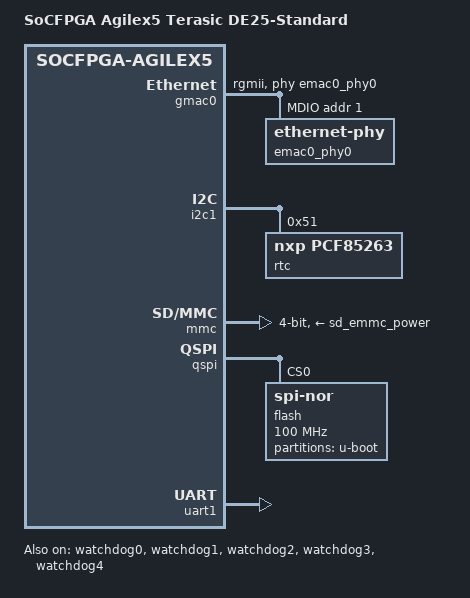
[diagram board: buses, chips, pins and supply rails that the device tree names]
// SPDX-License-Identifier: GPL-2.0-only
/*
 * Terasic DE25-Standard (Agilex 5 A5ED013BB32AE4SCS), for this repo's
 * de25_soc HPS pin mux: EMAC0, SD/MMC, UART1, I2C1, QSPI. No USB0, SPIM0,
 * HPS_LED or HPS_KEY in the pin mux.
 *
 * Derived from upstream socfpga_agilex5_de25_nano.dts (linux-socfpga
 * socfpga-6.18.20-lts) and Terasic's socfpga_agilex5_de25s.dts
 * (terasic/linux-socfpga de25-standard-6.12.11-lts). Copied into the
 * kernel tree by linux/build_de25_linux.sh.
 */
#include "socfpga_agilex5.dtsi"

/ {
	model = "SoCFPGA Agilex5 Terasic DE25-Standard";
	compatible = "intel,socfpga-agilex5-socdk", "intel,socfpga-agilex5";

	aliases {
		serial0 = &uart1;
		ethernet0 = &gmac0;
		i2c1 = &i2c1;
	};

	chosen {
		stdout-path = "serial0:115200n8";
	};

	memory@80000000 {
		device_type = "memory";
		/* We expect the bootloader to fill in the reg */
		reg = <0x0 0x80000000 0x0 0x0>;
	};
};

/* KSZ9031RN at MDIO address 1. Terasic uses "rgmii" (delays on the PCB),
 * as upstream's DE25-Nano DT does; "rgmii-id" is the fallback to try
 * (plan §7). */
&gmac0 {
	status = "okay";
	phy-mode = "rgmii";
	phy-handle = <&emac0_phy0>;

	max-frame-size = <9000>;

	mdio0 {
		#address-cells = <1>;
		#size-cells = <0>;
		compatible = "snps,dwmac-mdio";
		emac0_phy0: ethernet-phy@0 {
			reg = <1>;
		};
	};
};

&gpio1 {
	status = "okay";
};

/* PCF85263A RTC (CR1220 cell holder); ADXL345 at 0x53 not described */
&i2c1 {
	status = "okay";

	rtc@51 {
		compatible = "nxp,pcf85263";
		reg = <0x51>;
	};
};

/* 3.3 V-only card slot: vqmmc is the fixed card supply */
&mmc {
	status = "okay";

	no-1-8-v;
	disable-wp;
	cap-sd-highspeed;
	bus-width = <4>;
	vmmc-supply = <&sd_emmc_power>;
	vqmmc-supply = <&sd_emmc_power>;
	max-frequency = <200000000>;
	sdhci-caps = <0x00000000 0x0000c800>;
	sdhci-caps-mask = <0x00002007 0x0000ff00>;
};

&sd_io_1v8_reg {
	status = "disabled";
};

&osc1 {
	clock-frequency = <25000000>;
};

&qspi {
	status = "okay";
	flash@0 {
		compatible = "jedec,spi-nor";
		reg = <0>;
		spi-max-frequency = <100000000>;
		m25p,fast-read;
		cdns,read-delay = <2>;
		cdns,tshsl-ns = <50>;
		cdns,tsd2d-ns = <50>;
		cdns,tchsh-ns = <4>;
		cdns,tslch-ns = <4>;

		partitions {
			compatible = "fixed-partitions";
			#address-cells = <1>;
			#size-cells = <1>;
			rsu-handle = <&qspi_boot>;

			qspi_boot: partition@0 {
				label = "u-boot";
				reg = <0x0 0x01000000>;
			};
		};
	};
};

/*
 * The SDM gives the QSPI controller a 500 MHz reference clock (U-Boot:
 * "QSPI: Reference clock at 500000 kHz"), not the dtsi's 200 MHz. With
 * 200 MHz Linux runs the flash ~2.5x too fast: shifted JEDEC id, bulk reads
 * different every time (found on the DE25-Nano). Check the U-Boot line on
 * this board (plan §5.4).
 */
&qspi_clk {
	clock-frequency = <500000000>;
};

&smmu {
	status = "okay";
};

&uart1 {
	status = "okay";
};

&watchdog0 {
	status = "okay";
};

&watchdog1 {
	status = "okay";
};

&watchdog2 {
	status = "okay";
};

&watchdog3 {
	status = "okay";
};

&watchdog4 {
	status = "okay";
};

&temp_volt {
	voltage {
		#address-cells = <1>;
		#size-cells = <0>;
		input@2 {
			label = "0.8V VCC";
			reg = <2>;
		};

		input@3 {
			label = "1.8V VCCIO_SDM";
			reg = <3>;
		};

		input@4 {
			label = "1.8V VCCPT";
			reg = <4>;
		};

		input@5 {
			label = "1.2V VCCCRCORE";
			reg = <5>;
		};

		input@6 {
			label = "0.9V VCCH";
			reg = <6>;
		};

		input@7 {
			label = "0.8V VCCL";
			reg = <7>;
		};
	};

	temperature {
		#address-cells = <1>;
		#size-cells = <0>;

		input@0 {
			label = "Main Die SDM";
			reg = <0x0>;
		};

		input@10001 {
			label = "Main Die corner bottom left max";
			reg = <0x10000>;
		};

		input@30001 {
			label = "Main Die corner bottom right max";
			reg = <0x30000>;
		};

		input@40001 {
			label = "Main Die corner top right max";
			reg = <0x40000>;
		};
	};
};
